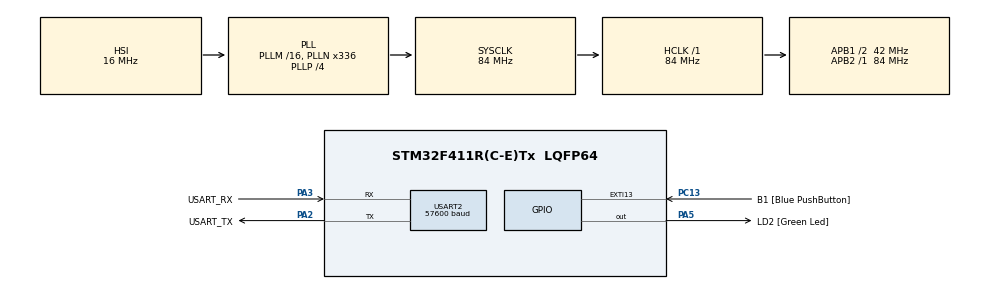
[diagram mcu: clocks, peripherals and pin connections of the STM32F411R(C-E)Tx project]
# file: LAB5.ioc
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Mcu.Family=STM32F4
Mcu.Name=STM32F411R(C-E)Tx
Mcu.Package=LQFP64
NVIC.PriorityGroup=NVIC_PRIORITYGROUP_0
NVIC.USART2_IRQn=true\:0\:0\:false\:false\:true\:true\:true\:true
PA13.GPIO_Label=TMS
PA13.Mode=Serial_Wire
PA13.Signal=SYS_JTMS-SWDIO
PA14.GPIO_Label=TCK
PA14.Mode=Serial_Wire
PA14.Signal=SYS_JTCK-SWCLK
PA2.GPIO_Label=USART_TX
PA2.Mode=Asynchronous
PA2.Signal=USART2_TX
PA3.GPIO_Label=USART_RX
PA3.Mode=Asynchronous
PA3.Signal=USART2_RX
PA5.GPIO_Label=LD2 [Green Led]
PA5.Signal=GPIO_Output
PB3.GPIO_Label=SWO
PB3.Signal=SYS_JTDO-SWO
PC13-ANTI_TAMP.GPIO_Label=B1 [Blue PushButton]
PC13-ANTI_TAMP.GPIO_ModeDefaultEXTI=GPIO_MODE_IT_FALLING
PC13-ANTI_TAMP.Signal=GPXTI13
PC14-OSC32_IN.Mode=LSE-External-Oscillator
PC14-OSC32_IN.Signal=RCC_OSC32_IN
PC15-OSC32_OUT.Mode=LSE-External-Oscillator
PC15-OSC32_OUT.Signal=RCC_OSC32_OUT
PH0\ -\ OSC_IN.Mode=HSE-External-Clock-Source
PH0\ -\ OSC_IN.Signal=RCC_OSC_IN
PH1\ -\ OSC_OUT.Mode=HSE-External-Clock-Source
PH1\ -\ OSC_OUT.Signal=RCC_OSC_OUT
ProjectManager.HeapSize=0x200
ProjectManager.StackSize=0x400
ProjectManager.TargetToolchain=STM32CubeIDE
RCC.48MHZClocksFreq_Value=84000000
RCC.AHBFreq_Value=84000000
RCC.APB1CLKDivider=RCC_HCLK_DIV2
RCC.APB1Freq_Value=42000000
RCC.APB1TimFreq_Value=84000000
RCC.APB2Freq_Value=84000000
RCC.APB2TimFreq_Value=84000000
RCC.CortexFreq_Value=84000000
RCC.FLatency-AdvancedSettings=FLASH_LATENCY_2
RCC.HCLKFreq_Value=84000000
RCC.HSE_VALUE=8000000
RCC.HSI_VALUE=16000000
RCC.PLLN=336
RCC.PLLP=RCC_PLLP_DIV4
RCC.SYSCLKFreq_VALUE=84000000
RCC.SYSCLKSource=RCC_SYSCLKSOURCE_PLLCLK
RCC.VCOOutputFreq_Value=336000000
USART2.BaudRate=57600
USART2.VirtualMode=VM_ASYNC
board=NUCLEO-F411RE

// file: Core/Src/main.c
/* USER CODE BEGIN Header */
/**
  ******************************************************************************
  * @file           : main.c
  * @brief          : Main program body
  ******************************************************************************
  * @attention
  *
  * Copyright (c) 2023 STMicroelectronics.
  * All rights reserved.
  *
  * This software is licensed under terms that can be found in the LICENSE file
  * in the root directory of this software component.
  * If no LICENSE file comes with this software, it is provided AS-IS.
  *
  ******************************************************************************
  */
/* USER CODE END Header */
#include "main.h"

UART_HandleTypeDef huart2;

/* USER CODE BEGIN PV */
uint8_t key[1];
uint8_t tx_buf[100];
float LEDspd = 50;
uint8_t state = 0;
uint8_t ledfreq = 10;
uint8_t startup = 0;
uint16_t led_buf[2];
uint8_t str[110];
uint8_t Ispress = 1;
uint8_t LEDIson = 1;
uint8_t ButtonPress = 0;
static uint32_t timestamp =0;
static uint32_t timestamp2 =0;
/* USER CODE END PV */

void SystemClock_Config(void);
static void MX_GPIO_Init(void);
static void MX_USART2_UART_Init(void);
/* USER CODE BEGIN PFP */
void uart_poll();
void uart_it_conf();
void LEDTask();
void stkuy();

/* USER CODE END PFP */

int main(void)
{

  /* MCU Configuration--------------------------------------------------------*/

  /* Reset of all peripherals, Initializes the Flash interface and the Systick. */
  HAL_Init();

  /* Configure the system clock */
  SystemClock_Config();

  /* Initialize all configured peripherals */
  MX_GPIO_Init();
  MX_USART2_UART_Init();

  /* Infinite loop */
  while (1)
  {

    /* USER CODE BEGIN 3 */
	  HAL_UART_Receive_IT(&huart2, key, 1);
	  LEDTask();
	  stkuy();
  }
  /* USER CODE END 3 */
}

void SystemClock_Config(void)
{
  RCC_OscInitTypeDef RCC_OscInitStruct = {0};
  RCC_ClkInitTypeDef RCC_ClkInitStruct = {0};

  /** Configure the main internal regulator output voltage
  */
  __HAL_RCC_PWR_CLK_ENABLE();
  __HAL_PWR_VOLTAGESCALING_CONFIG(PWR_REGULATOR_VOLTAGE_SCALE1);

  /** Initializes the RCC Oscillators according to the specified parameters
  * in the RCC_OscInitTypeDef structure.
  */
  RCC_OscInitStruct.OscillatorType = RCC_OSCILLATORTYPE_HSI;
  RCC_OscInitStruct.HSIState = RCC_HSI_ON;
  RCC_OscInitStruct.HSICalibrationValue = RCC_HSICALIBRATION_DEFAULT;
  RCC_OscInitStruct.PLL.PLLState = RCC_PLL_ON;
  RCC_OscInitStruct.PLL.PLLSource = RCC_PLLSOURCE_HSI;
  RCC_OscInitStruct.PLL.PLLM = 16;
  RCC_OscInitStruct.PLL.PLLN = 336;
  RCC_OscInitStruct.PLL.PLLP = RCC_PLLP_DIV4;
  RCC_OscInitStruct.PLL.PLLQ = 4;
  if (HAL_RCC_OscConfig(&RCC_OscInitStruct) != HAL_OK)
  {
    Error_Handler();
  }

  /** Initializes the CPU, AHB and APB buses clocks
  */
  RCC_ClkInitStruct.ClockType = RCC_CLOCKTYPE_HCLK|RCC_CLOCKTYPE_SYSCLK
                              |RCC_CLOCKTYPE_PCLK1|RCC_CLOCKTYPE_PCLK2;
  RCC_ClkInitStruct.SYSCLKSource = RCC_SYSCLKSOURCE_PLLCLK;
  RCC_ClkInitStruct.AHBCLKDivider = RCC_SYSCLK_DIV1;
  RCC_ClkInitStruct.APB1CLKDivider = RCC_HCLK_DIV2;
  RCC_ClkInitStruct.APB2CLKDivider = RCC_HCLK_DIV1;

  if (HAL_RCC_ClockConfig(&RCC_ClkInitStruct, FLASH_LATENCY_2) != HAL_OK)
  {
    Error_Handler();
  }
}

static void MX_USART2_UART_Init(void)
{

  huart2.Instance = USART2;
  huart2.Init.BaudRate = 57600;
  huart2.Init.WordLength = UART_WORDLENGTH_8B;
  huart2.Init.StopBits = UART_STOPBITS_1;
  huart2.Init.Parity = UART_PARITY_NONE;
  huart2.Init.Mode = UART_MODE_TX_RX;
  huart2.Init.HwFlowCtl = UART_HWCONTROL_NONE;
  huart2.Init.OverSampling = UART_OVERSAMPLING_16;
  if (HAL_UART_Init(&huart2) != HAL_OK)
  {
    Error_Handler();
  }

}

static void MX_GPIO_Init(void)
{
  GPIO_InitTypeDef GPIO_InitStruct = {0};

  /* GPIO Ports Clock Enable */
  __HAL_RCC_GPIOC_CLK_ENABLE();
  __HAL_RCC_GPIOH_CLK_ENABLE();
  __HAL_RCC_GPIOA_CLK_ENABLE();
  __HAL_RCC_GPIOB_CLK_ENABLE();

  /*Configure GPIO pin Output Level */
  HAL_GPIO_WritePin(LD2_GPIO_Port, LD2_Pin, GPIO_PIN_RESET);

  /*Configure GPIO pin : B1_Pin */
  GPIO_InitStruct.Pin = B1_Pin;
  GPIO_InitStruct.Mode = GPIO_MODE_IT_FALLING;
  GPIO_InitStruct.Pull = GPIO_NOPULL;
  HAL_GPIO_Init(B1_GPIO_Port, &GPIO_InitStruct);

  /*Configure GPIO pin : LD2_Pin */
  GPIO_InitStruct.Pin = LD2_Pin;
  GPIO_InitStruct.Mode = GPIO_MODE_OUTPUT_PP;
  GPIO_InitStruct.Pull = GPIO_NOPULL;
  GPIO_InitStruct.Speed = GPIO_SPEED_FREQ_LOW;
  HAL_GPIO_Init(LD2_GPIO_Port, &GPIO_InitStruct);

}

/* USER CODE BEGIN 4 */

void HAL_UART_RxCpltCallback(UART_HandleTypeDef *huart){Ispress = 0;}

void LEDTask(){

	if(HAL_GetTick()>=timestamp && LEDIson == 1){
		timestamp = HAL_GetTick()+LEDspd;
		HAL_GPIO_TogglePin(LD2_GPIO_Port, LD2_Pin);

	}

	if(LEDIson == 0){
			HAL_GPIO_WritePin(LD2_GPIO_Port, LD2_Pin, 0);
		}
}

void stkuy(){
	switch(state){
	case 0:
			if(startup == 0){
				HAL_UART_Transmit_IT(&huart2,"\n\rMenu\r\nPress 0 To Enter LED Control Mode\r\nPress 1 To Enter Button Status\r\n", 75 );
				startup = 1;
			}
			if(Ispress == 0 && key[0] == '0'){
				Ispress = 1;
				HAL_UART_Transmit_IT(&huart2,"\n\rMenu\r\nPress a To Speed Up\r\nPress s To Speed Down\nPress d To Turn On/Off LED\r\nPress x To Back To Menu\r\n", 104);
				state = 1;
			}
			else if(Ispress == 0 && key[0] == '1'){
				Ispress = 1;
				HAL_UART_Transmit_IT(&huart2,"\n\rMenu\r\nx : Back\r\n", 18);
				state = 2;
			}
			else if(Ispress == 0 && key[0] != '1' && key[0] != '0'){
				Ispress = 1;
				HAL_UART_Transmit_IT(&huart2,"Not in menu\r\n", 13);
			}
			break;
	case 1:// Speed Con
			//back
			if(Ispress == 0 && key[0] == 'x'){
				Ispress = 1;
				state = 0;
				HAL_UART_Transmit_IT(&huart2,"\n\rMenu\r\nPress 0 To Enter LED Control Mode\r\nPress 1 To Enter Button Status\r\n", 75);
			}
			//speed up
			else if(Ispress == 0 && key[0] == 'a'){
				Ispress = 1;
				LEDspd = (500*LEDspd)/(500+LEDspd);
				ledfreq = ceil(500/LEDspd);
				sprintf(str,"\r\nPress a To Speed Up \r\nPress s To Speed Down \r\nPress d To On/Off\r\nPress x To Back\r\nLED Frequency : %d", ledfreq);
				HAL_UART_Transmit_IT(&huart2, str, 102);

			}
			//speed down
			else if(Ispress == 0 && key[0] == 's'){
				Ispress = 1;
				LEDspd = (500*LEDspd)/(500-LEDspd);
				ledfreq = ceil(500/LEDspd);
				sprintf(str,"\r\nPress a To Speed Up \r\nPress s To Speed Down \r\nPress d To On/Off\r\nPress x To Back\r\nLED Frequency : %d", ledfreq);
				HAL_UART_Transmit_IT(&huart2,str, 102);
			}
			//On/Off
			else if(Ispress == 0 && key[0] == 'd'){
				Ispress = 1;

				if(LEDIson == 1){
					LEDIson = 0;
					HAL_UART_Transmit_IT(&huart2,"\n\rMenu\r\nPress a To Speed Up\r\nPress s To Speed Down\nPress d To Turn On/Off LED\r\nPress x To Back To Menu\r\nLED Turned Off\r", 119);
				}
				else if(LEDIson == 0){
					LEDIson = 1;
					HAL_UART_Transmit_IT(&huart2,"\n\rMenu\r\nPress a To Speed Up\r\nPress s To Speed Down\nPress d To Turn On/Off LED\r\nPress x To Back To Menu\r\nLED Turned On\r", 118);
				}
			}
			else if(Ispress == 0 && key[0] != 'x' && key[0] != 'a' && key[0] != 's' && key[0] != 'd'){
				Ispress = 1;
				HAL_UART_Transmit_IT(&huart2,"Not in menu\r\n", 13);
			}
			break;

	case 2://Show button
			ButtonPress = HAL_GPIO_ReadPin(GPIOC, GPIO_PIN_13);
			if(Ispress == 0 && key[0] == 'x'){
				Ispress = 1;
				state = 0;
				HAL_UART_Transmit_IT(&huart2,"\n\rMenu\r\nPress 0 To Enter LED Control Mode\r\nPress 1 To Enter Button Status\r\n", 75 );
			}
			else if(Ispress == 0 && key[0] != 'x'){
				Ispress = 1;
				HAL_UART_Transmit_IT(&huart2,"Not in menu\r\n", 13);
			}
			else if(HAL_GetTick()>=timestamp2){
				timestamp2 = HAL_GetTick()+250;
				if(ButtonPress == 0){
					HAL_UART_Transmit_IT(&huart2,"\n\rButton Pressed\r\n\rMenu\r\nPress x To Back To Menu\r\n\r", 51);
				}
				else if(ButtonPress == 1){
					HAL_UART_Transmit_IT(&huart2,"\n\rButton Not Pressed\r\n\rMenu\r\nPress x To Back To Menu\r\n\r", 55);
				}
			}
			break;

}

}
/* USER CODE END 4 */

void Error_Handler(void)
{
  __disable_irq();
  while (1)
  {
  }
}
